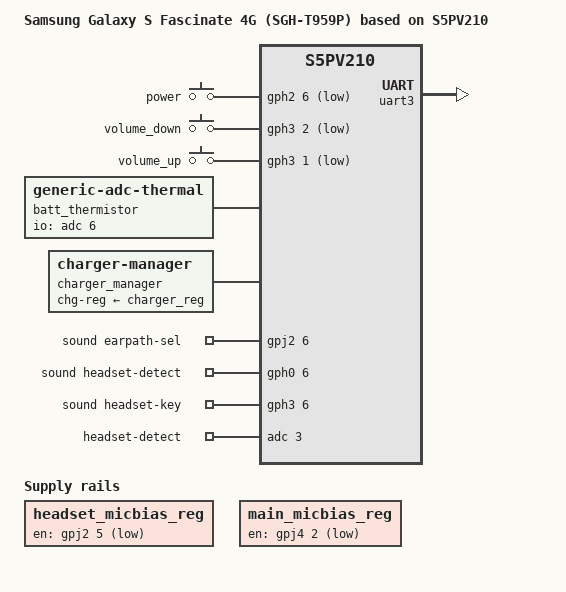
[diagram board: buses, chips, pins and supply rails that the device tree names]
// SPDX-License-Identifier: GPL-2.0

/dts-v1/;
#include <dt-bindings/gpio/gpio.h>
#include <dt-bindings/input/input.h>
#include "s5pv210-aries.dtsi"

/ {
	model = "Samsung Galaxy S Fascinate 4G (SGH-T959P) based on S5PV210";
	compatible = "samsung,fascinate4g", "samsung,aries", "samsung,s5pv210";

	chosen {
		stdout-path = &uart2;
	};

	gpio-keys {
		compatible = "gpio-keys";

		power {
			label = "power";
			gpios = <&gph2 6 GPIO_ACTIVE_LOW>;
			linux,code = <KEY_POWER>;
			wakeup-source;
		};

		vol-down {
			label = "volume_down";
			gpios = <&gph3 2 GPIO_ACTIVE_LOW>;
			linux,code = <KEY_VOLUMEDOWN>;
			wakeup-source;
		};

		vol-up {
			label = "volume_up";
			gpios = <&gph3 1 GPIO_ACTIVE_LOW>;
			linux,code = <KEY_VOLUMEUP>;
			wakeup-source;
		};
	};

	headset_micbias_reg: regulator-fixed-2 {
		compatible = "regulator-fixed";
		regulator-name = "Headset_Micbias";
		gpio = <&gpj2 5 GPIO_ACTIVE_HIGH>;

		pinctrl-names = "default";
		pinctrl-0 = <&headset_micbias_ena>;
	};

	main_micbias_reg: regulator-fixed-3 {
		compatible = "regulator-fixed";
		regulator-name = "Main_Micbias";
		gpio = <&gpj4 2 GPIO_ACTIVE_HIGH>;

		pinctrl-names = "default";
		pinctrl-0 = <&main_micbias_ena>;
	};

	thermal-zones {
		batt_thermal: batt-thermal {
			polling-delay-passive = <60000>; /* 60 seconds */
			polling-delay = <600000>; /* 600 seconds */

			thermal-sensors = <&batt_thermistor>;
		};
	};

	batt_thermistor: thermal-sensor-0 {
		compatible = "generic-adc-thermal";
		#thermal-sensor-cells = <0>;
		io-channels = <&adc 6>;
		io-channel-names = "sensor-channel";

		temperature-lookup-table = <
			(-20000) 1859
			(-19000) 1846
			(-18000) 1832
			(-17000) 1818
			(-16000) 1804
			(-15000) 1790
			(-14000) 1773
			(-13000) 1756
			(-12000) 1739
			(-11000) 1722
			(-10000) 1705
			(-9000) 1691
			(-8000) 1677
			(-7000) 1663
			(-6000) 1649
			(-5000) 1635
			(-4000) 1550
			(-3000) 1510
			(-2000) 1500
			(-1000) 1490
			0 1480
			1000 1470
			2000 1460
			3000 1450
			4000 1430
			5000 1420
			6000 1406
			7000 1386
			8000 1366
			9000 1346
			10000 1326
			11000 1302
			12000 1278
			13000 1254
			14000 1230
			15000 1206
			16000 1182
			17000 1158
			18000 1134
			19000 1110
			20000 1086
			21000 1059
			22000 1035
			23000 1011
			24000 987
			25000 963
			26000 937
			27000 913
			28000 889
			29000 865
			30000 841
			31000 816
			32000 794
			33000 772
			34000 750
			35000 728
			36000 708
			37000 690
			38000 672
			39000 654
			40000 636
			41000 616
			42000 599
			43000 580
			44000 565
			45000 548
			46000 529
			47000 512
			48000 495
			49000 478
			50000 461
			51000 440
			52000 431
			53000 416
			54000 405
			55000 396
			56000 375
			57000 360
			58000 347
			59000 334
			60000 325
			61000 311
			62000 303
			63000 296
			64000 290
			65000 279
			66000 265
			67000 254
			68000 240
			69000 220
			70000 206>;
	};

	charger_manager: charger-manager@0 {
		compatible = "charger-manager";

		cm-name = "cm-battery";

		chg-reg-supply = <&charger_reg>;

		/* poll when externally connected */
		cm-poll-mode = <2>;
		cm-poll-interval = <30>;

		/* read supply status for status */
		cm-battery-stat = <0>;

		cm-battery-temp-diff = <5>;
		cm-battery-hot = <5000>;
		cm-battery-cold = <400>;
		cm-battery-cold-in-minus;

		/* 6hr max charging time */
		cm-charging-max = <21600000>;
		/* 1.5hr max discharging time */
		cm-discharging-max = <5400000>;

		cm-fuel-gauge = "battery";

		cm-fullbatt-voltage = <4176000>;
		cm-fullbatt-vchkdrop-ms = <30000>;
		cm-fullbatt-vchkdrop-volt = <176000>;
		cm-fullbatt-soc = <92>;

		cm-num-chargers = <1>;
		cm-chargers = "max8998_pmic";

		cm-thermal-zone = "batt-thermal";

		regulator@0 {
			cm-regulator-name = "chg-reg";
			cable@0 {
				cm-cable-name = "USB";
				cm-cable-extcon = "7-0025";
				cm-cable-min = <475000>;
				cm-cable-max = <500000>;
			};
			cable@1 {
				cm-cable-name = "TA";
				cm-cable-extcon = "7-0025";
				cm-cable-min = <380000>;
				cm-cable-max = <600000>;
			};
		};
	};

	sound {
		compatible = "samsung,aries-wm8994";

		model = "Fascinate4G";

		dock-extcon = <&fsa9480>;

		samsung,modem-format = "dsp_a";
		samsung,modem-bitclock-inversion;

		main-micbias-supply = <&main_micbias_reg>;
		headset-micbias-supply = <&headset_micbias_reg>;

		earpath-sel-gpios = <&gpj2 6 GPIO_ACTIVE_HIGH>;

		io-channels = <&adc 3>;
		io-channel-names = "headset-detect";
		headset-detect-gpios = <&gph0 6 GPIO_ACTIVE_HIGH>;
		headset-key-gpios = <&gph3 6 GPIO_ACTIVE_HIGH>;

		samsung,audio-routing =
			"HP", "HPOUT1L",
			"HP", "HPOUT1R",

			"SPK", "SPKOUTLN",
			"SPK", "SPKOUTLP",

			"RCV", "HPOUT2N",
			"RCV", "HPOUT2P",

			"LINE", "LINEOUT2N",
			"LINE", "LINEOUT2P",

			"IN1LP", "Main Mic",
			"IN1LN", "Main Mic",

			"IN1RP", "Headset Mic",
			"IN1RN", "Headset Mic";

		pinctrl-names = "default";
		pinctrl-0 = <&headset_det &earpath_sel>;

		cpu {
			sound-dai = <&i2s0>;
		};

		codec {
			sound-dai = <&wm8994>;
		};
	};
};

&modem {
	compatible = "samsung,ste-m5730";

	phone_on-gpios = <&gpj1 0 GPIO_ACTIVE_HIGH>;
	phone_active-gpios = <&gph1 7 GPIO_ACTIVE_HIGH>;
	pda_active-gpios = <&mp03 3 GPIO_ACTIVE_HIGH>;
	cp_reset-gpios = <&gph1 0 GPIO_ACTIVE_HIGH>;
	resout-gpios = <&gph1 4 GPIO_ACTIVE_HIGH>;
	cp_pwr_rst-gpios = <&gph1 1 GPIO_ACTIVE_HIGH>;

	cp_rtc-supply = <&ldo6_reg>;
	cp_32khz-supply = <&cp32khz_reg>;

	pinctrl-0 = <&phone_on &eint15 &pda_active &cp_rst &resout &cp_pwr_rst>;
	pinctrl-names = "default";
};

&pinctrl0 {
	pinctrl-names = "default";
	pinctrl-0 = <&sleep_cfg>;

	headset_det: headset-det {
		samsung,pins = "gph0-6", "gph3-6";
		samsung,pin-function = <EXYNOS_PIN_FUNC_F>;
		samsung,pin-pud = <S3C64XX_PIN_PULL_NONE>;
	};

	cp_rst: cp-rst {
		samsung,pins = "gph1-0";
		samsung,pin-function = <EXYNOS_PIN_FUNC_OUTPUT>;
		samsung,pin-pud = <S3C64XX_PIN_PULL_NONE>;
		samsung,pin-drv = <EXYNOS4_PIN_DRV_LV1>;
		samsung,pin-val = <0>;
	};

	cp_pwr_rst: cp-pwr-rst {
		samsung,pins = "gph1-1";
		samsung,pin-function = <EXYNOS_PIN_FUNC_F>;
		samsung,pin-pud = <S3C64XX_PIN_PULL_NONE>;
		samsung,pin-drv = <EXYNOS4_PIN_DRV_LV1>;
	};

	resout: resout {
		samsung,pins = "gph1-4";
		samsung,pin-function = <EXYNOS_PIN_FUNC_F>;
		samsung,pin-pud = <S3C64XX_PIN_PULL_NONE>;
		samsung,pin-drv = <EXYNOS4_PIN_DRV_LV1>;
	};

	phone_on: phone-on {
		samsung,pins = "gpj1-0";
		samsung,pin-function = <EXYNOS_PIN_FUNC_OUTPUT>;
		samsung,pin-pud = <S3C64XX_PIN_PULL_NONE>;
		samsung,pin-drv = <EXYNOS4_PIN_DRV_LV1>;
		samsung,pin-val = <0>;
	};

	headset_micbias_ena: headset-micbias-ena {
		samsung,pins = "gpj2-5";
		samsung,pin-pud = <S3C64XX_PIN_PULL_NONE>;
		samsung,pin-drv = <EXYNOS4_PIN_DRV_LV1>;
	};

	earpath_sel: earpath-sel {
		samsung,pins = "gpj2-6";
		samsung,pin-pud = <S3C64XX_PIN_PULL_NONE>;
		samsung,pin-drv = <EXYNOS4_PIN_DRV_LV1>;
	};

	main_micbias_ena: main-micbias-ena {
		samsung,pins = "gpj4-2";
		samsung,pin-pud = <S3C64XX_PIN_PULL_NONE>;
		samsung,pin-drv = <EXYNOS4_PIN_DRV_LV1>;
	};

	pda_active: pda-active {
		samsung,pins = "mp03-3";
		samsung,pin-function = <EXYNOS_PIN_FUNC_OUTPUT>;
		samsung,pin-pud = <S3C64XX_PIN_PULL_NONE>;
		samsung,pin-drv = <EXYNOS4_PIN_DRV_LV1>;
		samsung,pin-val = <1>;
	};

	sleep_cfg: sleep-cfg {
		PIN_SLP(gpa0-0, PREV, NONE);
		PIN_SLP(gpa0-1, PREV, NONE);
		PIN_SLP(gpa0-2, PREV, NONE);
		PIN_SLP(gpa0-3, OUT1, NONE);
		PIN_SLP(gpa0-4, PREV, NONE);
		PIN_SLP(gpa0-5, PREV, NONE);
		PIN_SLP(gpa0-6, PREV, NONE);
		PIN_SLP(gpa0-7, PREV, NONE);

		PIN_SLP(gpa1-0, INPUT, DOWN);
		PIN_SLP(gpa1-1, OUT0, NONE);
		PIN_SLP(gpa1-2, INPUT, DOWN);
		PIN_SLP(gpa1-3, OUT0, NONE);

		PIN_SLP(gpb-0, OUT0, NONE);
		PIN_SLP(gpb-1, OUT1, NONE);
		PIN_SLP(gpb-2, OUT0, NONE);
		PIN_SLP(gpb-3, PREV, NONE);
		PIN_SLP(gpb-4, INPUT, NONE);
		PIN_SLP(gpb-5, PREV, NONE);
		PIN_SLP(gpb-6, INPUT, DOWN);
		PIN_SLP(gpb-7, OUT0, NONE);

		PIN_SLP(gpc0-0, OUT0, NONE);
		PIN_SLP(gpc0-1, INPUT, DOWN);
		PIN_SLP(gpc0-2, OUT0, NONE);
		PIN_SLP(gpc0-3, INPUT, DOWN);
		PIN_SLP(gpc0-4, OUT0, NONE);

		PIN_SLP(gpc1-0, INPUT, DOWN);
		PIN_SLP(gpc1-1, INPUT, DOWN);
		PIN_SLP(gpc1-2, INPUT, DOWN);
		PIN_SLP(gpc1-3, INPUT, DOWN);
		PIN_SLP(gpc1-4, INPUT, DOWN);

		PIN_SLP(gpd0-0, INPUT, DOWN);
		PIN_SLP(gpd0-1, OUT0, NONE);
		PIN_SLP(gpd0-2, INPUT, DOWN);
		PIN_SLP(gpd0-3, INPUT, DOWN);

		PIN_SLP(gpd1-0, INPUT, NONE);
		PIN_SLP(gpd1-1, INPUT, NONE);
		PIN_SLP(gpd1-2, INPUT, DOWN);
		PIN_SLP(gpd1-3, INPUT, DOWN);
		PIN_SLP(gpd1-4, INPUT, DOWN);
		PIN_SLP(gpd1-5, INPUT, DOWN);

		PIN_SLP(gpe0-0, INPUT, DOWN);
		PIN_SLP(gpe0-1, INPUT, DOWN);
		PIN_SLP(gpe0-2, INPUT, DOWN);
		PIN_SLP(gpe0-3, INPUT, DOWN);
		PIN_SLP(gpe0-4, INPUT, DOWN);
		PIN_SLP(gpe0-5, INPUT, DOWN);
		PIN_SLP(gpe0-6, INPUT, DOWN);
		PIN_SLP(gpe0-7, INPUT, DOWN);

		PIN_SLP(gpe1-0, INPUT, DOWN);
		PIN_SLP(gpe1-1, INPUT, DOWN);
		PIN_SLP(gpe1-2, INPUT, DOWN);
		PIN_SLP(gpe1-3, OUT0, NONE);
		PIN_SLP(gpe1-4, INPUT, DOWN);

		PIN_SLP(gpf0-0, OUT0, NONE);
		PIN_SLP(gpf0-1, OUT0, NONE);
		PIN_SLP(gpf0-2, OUT0, NONE);
		PIN_SLP(gpf0-3, OUT0, NONE);
		PIN_SLP(gpf0-4, OUT0, NONE);
		PIN_SLP(gpf0-5, OUT0, NONE);
		PIN_SLP(gpf0-6, OUT0, NONE);
		PIN_SLP(gpf0-7, OUT0, NONE);

		PIN_SLP(gpf1-0, OUT0, NONE);
		PIN_SLP(gpf1-1, OUT0, NONE);
		PIN_SLP(gpf1-2, OUT0, NONE);
		PIN_SLP(gpf1-3, OUT0, NONE);
		PIN_SLP(gpf1-4, OUT0, NONE);
		PIN_SLP(gpf1-5, OUT0, NONE);
		PIN_SLP(gpf1-6, OUT0, NONE);
		PIN_SLP(gpf1-7, OUT0, NONE);

		PIN_SLP(gpf2-0, OUT0, NONE);
		PIN_SLP(gpf2-1, OUT0, NONE);
		PIN_SLP(gpf2-2, OUT0, NONE);
		PIN_SLP(gpf2-3, OUT0, NONE);
		PIN_SLP(gpf2-4, OUT0, NONE);
		PIN_SLP(gpf2-5, OUT0, NONE);
		PIN_SLP(gpf2-6, OUT0, NONE);
		PIN_SLP(gpf2-7, OUT0, NONE);

		PIN_SLP(gpf3-0, OUT0, NONE);
		PIN_SLP(gpf3-1, OUT0, NONE);
		PIN_SLP(gpf3-2, OUT0, NONE);
		PIN_SLP(gpf3-3, OUT0, NONE);
		PIN_SLP(gpf3-4, PREV, NONE);
		PIN_SLP(gpf3-5, INPUT, DOWN);

		PIN_SLP(gpg0-0, INPUT, DOWN);
		PIN_SLP(gpg0-1, INPUT, DOWN);
		PIN_SLP(gpg0-2, INPUT, NONE);
		PIN_SLP(gpg0-3, INPUT, DOWN);
		PIN_SLP(gpg0-4, INPUT, DOWN);
		PIN_SLP(gpg0-5, INPUT, DOWN);
		PIN_SLP(gpg0-6, INPUT, DOWN);

		PIN_SLP(gpg1-0, OUT0, NONE);
		PIN_SLP(gpg1-1, OUT1, NONE);
		PIN_SLP(gpg1-2, PREV, NONE);
		PIN_SLP(gpg1-3, OUT1, NONE);
		PIN_SLP(gpg1-4, OUT1, NONE);
		PIN_SLP(gpg1-5, OUT1, NONE);
		PIN_SLP(gpg1-6, OUT1, NONE);

		PIN_SLP(gpg2-0, OUT0, NONE);
		PIN_SLP(gpg2-1, OUT0, NONE);
		PIN_SLP(gpg2-2, INPUT, NONE);
		PIN_SLP(gpg2-3, OUT0, NONE);
		PIN_SLP(gpg2-4, OUT0, NONE);
		PIN_SLP(gpg2-5, OUT0, NONE);
		PIN_SLP(gpg2-6, OUT0, NONE);

		PIN_SLP(gpg3-0, PREV, UP);
		PIN_SLP(gpg3-1, PREV, UP);
		PIN_SLP(gpg3-2, INPUT, NONE);
		PIN_SLP(gpg3-3, INPUT, DOWN);
		PIN_SLP(gpg3-4, OUT0, NONE);
		PIN_SLP(gpg3-5, OUT0, NONE);
		PIN_SLP(gpg3-6, INPUT, DOWN);

		PIN_SLP(gpi-0, PREV, NONE);
		PIN_SLP(gpi-1, INPUT, DOWN);
		PIN_SLP(gpi-2, PREV, NONE);
		PIN_SLP(gpi-3, PREV, NONE);
		PIN_SLP(gpi-4, PREV, NONE);
		PIN_SLP(gpi-5, INPUT, DOWN);
		PIN_SLP(gpi-6, INPUT, DOWN);

		PIN_SLP(gpj0-0, INPUT, NONE);
		PIN_SLP(gpj0-1, INPUT, NONE);
		PIN_SLP(gpj0-2, INPUT, NONE);
		PIN_SLP(gpj0-3, INPUT, NONE);
		PIN_SLP(gpj0-4, INPUT, NONE);
		PIN_SLP(gpj0-5, INPUT, DOWN);
		PIN_SLP(gpj0-6, OUT0, NONE);
		PIN_SLP(gpj0-7, INPUT, NONE);

		PIN_SLP(gpj1-0, OUT1, NONE);
		PIN_SLP(gpj1-1, OUT0, NONE);
		PIN_SLP(gpj1-2, INPUT, DOWN);
		PIN_SLP(gpj1-3, PREV, NONE);
		PIN_SLP(gpj1-4, PREV, NONE);
		PIN_SLP(gpj1-5, OUT0, NONE);

		PIN_SLP(gpj2-0, INPUT, DOWN);
		PIN_SLP(gpj2-1, INPUT, DOWN);
		PIN_SLP(gpj2-2, OUT0, NONE);
		PIN_SLP(gpj2-3, INPUT, DOWN);
		PIN_SLP(gpj2-4, INPUT, DOWN);
		PIN_SLP(gpj2-5, PREV, NONE);
		PIN_SLP(gpj2-6, PREV, NONE);
		PIN_SLP(gpj2-7, INPUT, DOWN);

		PIN_SLP(gpj3-0, INPUT, NONE);
		PIN_SLP(gpj3-1, INPUT, NONE);
		PIN_SLP(gpj3-2, OUT0, NONE);
		PIN_SLP(gpj3-3, INPUT, DOWN);
		PIN_SLP(gpj3-4, INPUT, NONE);
		PIN_SLP(gpj3-5, INPUT, NONE);
		PIN_SLP(gpj3-6, INPUT, NONE);
		PIN_SLP(gpj3-7, INPUT, NONE);

		PIN_SLP(gpj4-0, INPUT, NONE);
		PIN_SLP(gpj4-1, INPUT, DOWN);
		PIN_SLP(gpj4-2, PREV, NONE);
		PIN_SLP(gpj4-3, INPUT, NONE);
		PIN_SLP(gpj4-4, INPUT, DOWN);

		PIN_SLP(mp01-0, OUT1, NONE);
		PIN_SLP(mp01-1, OUT0, NONE);
		PIN_SLP(mp01-2, INPUT, DOWN);
		PIN_SLP(mp01-3, INPUT, DOWN);
		PIN_SLP(mp01-4, OUT1, NONE);
		PIN_SLP(mp01-5, INPUT, DOWN);
		PIN_SLP(mp01-6, INPUT, DOWN);
		PIN_SLP(mp01-7, INPUT, DOWN);

		PIN_SLP(mp02-0, INPUT, DOWN);
		PIN_SLP(mp02-1, INPUT, DOWN);
		PIN_SLP(mp02-2, INPUT, NONE);
		PIN_SLP(mp02-3, INPUT, DOWN);

		PIN_SLP(mp03-0, INPUT, DOWN);
		PIN_SLP(mp03-1, INPUT, DOWN);
		PIN_SLP(mp03-2, OUT1, NONE);
		PIN_SLP(mp03-3, OUT0, NONE);
		PIN_SLP(mp03-4, INPUT, NONE);
		PIN_SLP(mp03-5, OUT0, NONE);
		PIN_SLP(mp03-6, INPUT, DOWN);
		PIN_SLP(mp03-7, INPUT, DOWN);

		PIN_SLP(mp04-0, INPUT, DOWN);
		PIN_SLP(mp04-1, OUT0, NONE);
		PIN_SLP(mp04-2, INPUT, DOWN);
		PIN_SLP(mp04-3, OUT0, NONE);
		PIN_SLP(mp04-4, INPUT, DOWN);
		PIN_SLP(mp04-5, INPUT, DOWN);
		PIN_SLP(mp04-6, OUT0, NONE);
		PIN_SLP(mp04-7, INPUT, DOWN);

		PIN_SLP(mp05-0, INPUT, NONE);
		PIN_SLP(mp05-1, INPUT, NONE);
		PIN_SLP(mp05-2, INPUT, NONE);
		PIN_SLP(mp05-3, INPUT, NONE);
		PIN_SLP(mp05-4, INPUT, DOWN);
		PIN_SLP(mp05-5, OUT0, NONE);
		PIN_SLP(mp05-6, INPUT, DOWN);
		PIN_SLP(mp05-7, PREV, NONE);

		PIN_SLP(mp06-0, INPUT, DOWN);
		PIN_SLP(mp06-1, INPUT, DOWN);
		PIN_SLP(mp06-2, INPUT, DOWN);
		PIN_SLP(mp06-3, INPUT, DOWN);
		PIN_SLP(mp06-4, INPUT, DOWN);
		PIN_SLP(mp06-5, INPUT, DOWN);
		PIN_SLP(mp06-6, INPUT, DOWN);
		PIN_SLP(mp06-7, INPUT, DOWN);

		PIN_SLP(mp07-0, INPUT, DOWN);
		PIN_SLP(mp07-1, INPUT, DOWN);
		PIN_SLP(mp07-2, INPUT, DOWN);
		PIN_SLP(mp07-3, INPUT, DOWN);
		PIN_SLP(mp07-4, INPUT, DOWN);
		PIN_SLP(mp07-5, INPUT, DOWN);
		PIN_SLP(mp07-6, INPUT, DOWN);
		PIN_SLP(mp07-7, INPUT, DOWN);
	};
};

&uart3 {
	status = "okay";
};

&wm8994 {
	wlf,gpio-cfg = <0xa101 0x8100 0x8100 0x8100 0x8100 0xa101
		0x0100 0x8100 0x0100 0x0100 0x0100>;
};
